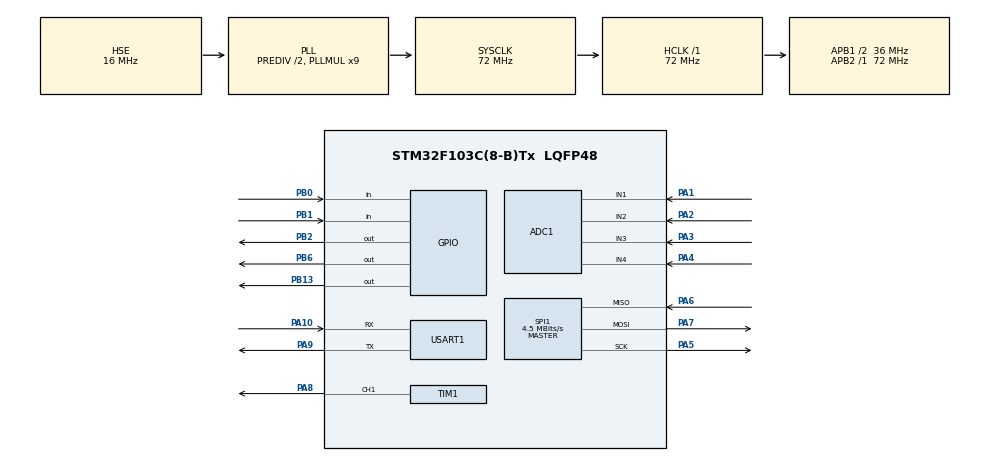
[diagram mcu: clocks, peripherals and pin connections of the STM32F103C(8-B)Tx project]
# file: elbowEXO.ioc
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ADC1.Channel-0\#ChannelRegularConversion=ADC_CHANNEL_2
ADC1.NbrOfConversionFlag=1
ADC1.Rank-0\#ChannelRegularConversion=1
ADC1.SamplingTime-0\#ChannelRegularConversion=ADC_SAMPLETIME_1CYCLE_5
ADC1.master=1
Mcu.Family=STM32F1
Mcu.Name=STM32F103C(8-B)Tx
Mcu.Package=LQFP48
NVIC.PriorityGroup=NVIC_PRIORITYGROUP_4
NVIC.TIM2_IRQn=true\:0\:0\:false\:false\:true\:true\:true\:true
PA1.Signal=ADCx_IN1
PA10.Mode=Asynchronous
PA10.Signal=USART1_RX
PA13.Mode=Serial_Wire
PA13.Signal=SYS_JTMS-SWDIO
PA14.Mode=Serial_Wire
PA14.Signal=SYS_JTCK-SWCLK
PA2.Signal=ADCx_IN2
PA3.Signal=ADCx_IN3
PA4.Signal=ADCx_IN4
PA5.Mode=Full_Duplex_Master
PA5.Signal=SPI1_SCK
PA6.Mode=Full_Duplex_Master
PA6.Signal=SPI1_MISO
PA7.Mode=Full_Duplex_Master
PA7.Signal=SPI1_MOSI
PA8.Signal=S_TIM1_CH1
PA9.Mode=Asynchronous
PA9.Signal=USART1_TX
PB0.GPIO_PuPd=GPIO_PULLUP
PB0.Signal=GPIO_Input
PB1.GPIO_PuPd=GPIO_PULLUP
PB1.Signal=GPIO_Input
PB13.Signal=GPIO_Output
PB2.Signal=GPIO_Output
PB6.Signal=GPIO_Output
PD0-OSC_IN.Mode=HSE-External-Oscillator
PD0-OSC_IN.Signal=RCC_OSC_IN
PD1-OSC_OUT.Mode=HSE-External-Oscillator
PD1-OSC_OUT.Signal=RCC_OSC_OUT
ProjectManager.HeapSize=0x200
ProjectManager.StackSize=0x400
ProjectManager.TargetToolchain=MDK-ARM V5.32
RCC.ADCPresc=RCC_ADCPCLK2_DIV6
RCC.AHBFreq_Value=72000000
RCC.APB1CLKDivider=RCC_HCLK_DIV2
RCC.APB1Freq_Value=36000000
RCC.APB1TimFreq_Value=72000000
RCC.APB2Freq_Value=72000000
RCC.APB2TimFreq_Value=72000000
RCC.HCLKFreq_Value=72000000
RCC.HSEDivPLL=RCC_HSE_PREDIV_DIV2
RCC.HSE_VALUE=16000000
RCC.PLLMUL=RCC_PLL_MUL9
RCC.PLLSourceVirtual=RCC_PLLSOURCE_HSE
RCC.SYSCLKFreq_VALUE=72000000
RCC.SYSCLKSource=RCC_SYSCLKSOURCE_PLLCLK
RCC.USBFreq_Value=72000000
SH.ADCx_IN1.0=ADC1_IN1,IN1
SH.ADCx_IN2.0=ADC1_IN2,IN2
SH.ADCx_IN3.0=ADC1_IN3,IN3
SH.ADCx_IN4.0=ADC1_IN4,IN4
SH.S_TIM1_CH1.0=TIM1_CH1,PWM Generation1 CH1
SPI1.BaudRatePrescaler=SPI_BAUDRATEPRESCALER_16
SPI1.CLKPhase=SPI_PHASE_2EDGE
SPI1.CalculateBaudRate=4.5 MBits/s
SPI1.DataSize=SPI_DATASIZE_16BIT
SPI1.Direction=SPI_DIRECTION_2LINES
SPI1.Mode=SPI_MODE_MASTER
SPI1.VirtualType=VM_MASTER
TIM1.AutoReloadPreload=TIM_AUTORELOAD_PRELOAD_ENABLE
TIM1.Channel-PWM\ Generation1\ CH1=TIM_CHANNEL_1
TIM1.Period=999
TIM1.Prescaler=71
TIM2.Period=99
TIM2.Prescaler=7199
USART1.VirtualMode=VM_ASYNC
VP_TIM1_VS_ClockSourceINT.Mode=Internal
VP_TIM2_VS_ClockSourceINT.Mode=Internal
board=custom

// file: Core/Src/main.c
/* USER CODE BEGIN Header */
/**
  ******************************************************************************
  * @file           : main.c
  * @brief          : Main program body
  ******************************************************************************
  * @attention
  *
  * Copyright (c) 2025 STMicroelectronics.
  * All rights reserved.
  *
  * This software is licensed under terms that can be found in the LICENSE file
  * in the root directory of this software component.
  * If no LICENSE file comes with this software, it is provided AS-IS.
  *
  ******************************************************************************
  */
/* USER CODE END Header */
#include "main.h"
#include "adc.h"
#include "spi.h"
#include "tim.h"
#include "usart.h"
#include "gpio.h"

/* USER CODE BEGIN Includes */
// ����ͷ�ļ�
#include "encoder.h"
#include "driver.h"
#include "pid.h"
#include "speed_mapper.h"
#include <stdio.h>
#include <math.h>
/* USER CODE END Includes */

/* USER CODE BEGIN PV */
// 全局变量
PID_Controller position_pid;    // 位置环PID
PID_Controller speed_pid;       // 速度环PID
float target_angle = 90.0f;     // 目标角度
float target_speed = 0.0f;      // 目标速度

/////////////////////////////轨迹参数调整处//////////////////////////////////////////////
// 正弦轨迹参数//参数设置注意：1.正弦幅度<正弦偏移;2.正弦偏移-正弦幅度的值差别不能太大，不然会从初始0角度突然剧烈跳变
float trajectory_t = 0.0f;      // 轨迹时间变量
#define TRAJECTORY_AMPLITUDE 44.0f    // 正弦幅度 44度
#define TRAJECTORY_OFFSET 45.0f       // 正弦偏移 45度
#define TRAJECTORY_FREQUENCY 0.1f     // 正弦频率 (Hz)
//////最终表达式  期望角度曲线=-44cos(0.1t + 0)+45
///////////////////////////////////////////////////////////////////////////////////////////
	float Avr[10] = {0.0f};
	float sum = 0.0f;
	float a = 0.0f;

// 控制参数
#define MAX_MOTOR_SPEED     300.0f  // 最大电机速度
#define CONTROL_FREQ        100     // 100Hz控制频率
uint32_t control_counter = 0;
/* USER CODE END PV */

void SystemClock_Config(void);
/* USER CODE BEGIN PFP */
// 双环控制函数声明
void PositionSpeedDualLoopControl(void);
void UpdateTrajectory(void);  //更新轨迹
/* USER CODE END PFP */

/* USER CODE BEGIN 0 */
// 重定向printf到串口
int fputc(int ch, FILE *f)
{
  HAL_UART_Transmit(&huart1, (uint8_t *)&ch, 1, 0xffff);
  return ch;
}

// 简单的电机测试函数
void Motor_SimpleTest(void)
{

	    // 1. 更新速度测量
    Encoder_UpdateVelocity();

    // 2. 读取当前位置和当前速度
    float angle0 = Encoder_ReadAngle();
	printf("Current_Angle: %f\r\n",angle0);

    // 测试1: 正转慢速
    Motor_SetDirection(MOTOR_DIR_CW);
    Motor_SetSpeed(300);  // 30%速度   满值1000
    HAL_Delay(2500);      // 运行2.5秒

    // 测试2: 停止
    Motor_Stop();

	  float angle1 = Encoder_ReadAngle();
	printf("Current_Angle: %f\r\n",angle1);

    // 测试3: 反转慢速
    Motor_SetDirection(MOTOR_DIR_CCW);
    Motor_SetSpeed(300);  // 30%速度
    HAL_Delay(2500);      // 运行2.6秒

    // 测试4: 停止
    Motor_Stop();

	 float angle2 = Encoder_ReadAngle();
   printf("Current_Angle: %f\r\n",angle2);
}

/* USER CODE END 0 */

//主函数
int main(void)
{

  /* MCU Configuration--------------------------------------------------------*/

  /* Reset of all peripherals, Initializes the Flash interface and the Systick. */
  HAL_Init();   //HAL库初始化

  /* Configure the system clock */
  SystemClock_Config();   //系统时钟配置

  /* Initialize all configured peripherals */
  MX_GPIO_Init();       //输入输出引脚初始化
  MX_SPI1_Init();       //SPI初始化
  MX_TIM2_Init();       //定时器2初始化
  MX_USART1_UART_Init();  //串口通信初始化---调试用
  MX_TIM1_Init();
  MX_ADC1_Init();
  /* USER CODE BEGIN 2 */
	//编码器读取及电机初始化
  Encoder_Init(&hspi1);     //编码器初始化---配置编码器的spi通信
  Motor_Init(&htim1);       //电机初始化

/////////////////////参数调试处////////主要调节两个环的Kp\Ki\Kd三个值///////////
//位置环PID控制器初始化    Kp    Ki     Kd
  PID_Init(&position_pid, 8.0f, 0.1f, 0.3f, 100.0f, MAX_MOTOR_SPEED);
//速度环PID控制器初始化  Kp   Ki    Kd
  PID_Init(&speed_pid, 0.5f, 0.1f, 0.06f, 50.0f, 1000.0f);
////////////////////////////////////////////////////////////////////////////////

//当前最优参数，作备用
//  PID_Init(&position_pid, 8.0f, 0.1f, 0.3f, 100.0f, MAX_MOTOR_SPEED);
////速度环PID控制器初始化  Kp   Ki    Kd
//  PID_Init(&speed_pid, 0.5f, 0.1f, 0.06f, 50.0f, 1000.0f);

	// 读取上电后的首次角度

  float A0 = Encoder_ReadAngle();
	printf("Initial_Angle: %f\r\n",A0);

  HAL_Delay(5000);

  //初始角度校准
	for(int i = 0;i < 10; i++){
		Avr[i] = Encoder_ReadAngle();
		sum += Avr[i];
	}
  a = sum/10;

	printf("%f,%f\r\n", sum,a);

	HAL_Delay(100);

  //启动定时器
  HAL_TIM_Base_Start_IT(&htim2);  // 控制循环 100Hz

	// 执行简单的电机测试
  // Motor_SimpleTest();

  /* USER CODE END 2 */

  /* Infinite loop */
  while (1)
  {

  }
}

void SystemClock_Config(void)
{
  RCC_OscInitTypeDef RCC_OscInitStruct = {0};
  RCC_ClkInitTypeDef RCC_ClkInitStruct = {0};
  RCC_PeriphCLKInitTypeDef PeriphClkInit = {0};

  /** Initializes the RCC Oscillators according to the specified parameters
  * in the RCC_OscInitTypeDef structure.
  */
  RCC_OscInitStruct.OscillatorType = RCC_OSCILLATORTYPE_HSE;
  RCC_OscInitStruct.HSEState = RCC_HSE_ON;
  RCC_OscInitStruct.HSEPredivValue = RCC_HSE_PREDIV_DIV2;
  RCC_OscInitStruct.HSIState = RCC_HSI_ON;
  RCC_OscInitStruct.PLL.PLLState = RCC_PLL_ON;
  RCC_OscInitStruct.PLL.PLLSource = RCC_PLLSOURCE_HSE;
  RCC_OscInitStruct.PLL.PLLMUL = RCC_PLL_MUL9;
  if (HAL_RCC_OscConfig(&RCC_OscInitStruct) != HAL_OK)
  {
    Error_Handler();
  }

  /** Initializes the CPU, AHB and APB buses clocks
  */
  RCC_ClkInitStruct.ClockType = RCC_CLOCKTYPE_HCLK|RCC_CLOCKTYPE_SYSCLK
                              |RCC_CLOCKTYPE_PCLK1|RCC_CLOCKTYPE_PCLK2;
  RCC_ClkInitStruct.SYSCLKSource = RCC_SYSCLKSOURCE_PLLCLK;
  RCC_ClkInitStruct.AHBCLKDivider = RCC_SYSCLK_DIV1;
  RCC_ClkInitStruct.APB1CLKDivider = RCC_HCLK_DIV2;
  RCC_ClkInitStruct.APB2CLKDivider = RCC_HCLK_DIV1;

  if (HAL_RCC_ClockConfig(&RCC_ClkInitStruct, FLASH_LATENCY_2) != HAL_OK)
  {
    Error_Handler();
  }
  PeriphClkInit.PeriphClockSelection = RCC_PERIPHCLK_ADC;
  PeriphClkInit.AdcClockSelection = RCC_ADCPCLK2_DIV6;
  if (HAL_RCCEx_PeriphCLKConfig(&PeriphClkInit) != HAL_OK)
  {
    Error_Handler();
  }
}

/* USER CODE BEGIN 4 */
//正弦轨迹驱动更新
void UpdateTrajectory(void)
{
    // 更新轨迹时间 (100Hz控制频率，每次增加0.01秒)
    trajectory_t += 0.01f;

    // 计算正弦轨迹：-88 * cos(0.1*t) + 90
    // 使用sinf函数计算正弦值
    target_angle = - (TRAJECTORY_AMPLITUDE) * cosf(trajectory_t * 2 * 3.14159f * TRAJECTORY_FREQUENCY) + TRAJECTORY_OFFSET + a;

    // 确保角度在0-360度范围内
    if (target_angle >= 360.0f) {
        target_angle -= 360.0f;
    }
    if (target_angle < 0.0f) {
        target_angle += 360.0f;
    }
}

//////////////////////////////////////////////////////////////////////////////////////////////
void PositionSpeedDualLoopControl(void)
{
    // 1. 更新速度测量
    Encoder_UpdateVelocity();

    // 2. 读取当前位置和当前速度
    float current_angle = Encoder_ReadAngle();
    float current_speed = Encoder_ReadVelocity();

    // 3. 位置环：计算位置误差并得到目标速度
    float position_error = target_angle - current_angle;
    if (position_error > 180.0f) position_error -= 360.0f;
    if (position_error < -180.0f) position_error += 360.0f;

    // 位置环PID计算，输出为目标速度
    target_speed = PID_Update(&position_pid, 0.0f, position_error);
	  ////////////////////////参数输出添加或删除处/////////////////////////////////////////////////
	  printf("%f,%f,%f,%f,%f\r\n",current_angle,target_angle,current_angle-target_angle,current_speed,target_speed);

    // 限制目标速度范围
    if (target_speed > MAX_MOTOR_SPEED) target_speed = MAX_MOTOR_SPEED;
    if (target_speed < -MAX_MOTOR_SPEED) target_speed = -MAX_MOTOR_SPEED;

    // 4. 速度环：根据目标速度和实际速度计算PWM
    float speed_error = target_speed - current_speed;
    float pwm_output = PID_Update(&speed_pid, target_speed, current_speed);

    // 5. 将PID输出转换为PWM占空比
    uint16_t pwm_duty = (uint16_t)fabsf(pwm_output);
    if (pwm_duty > 1000) pwm_duty = 1000;

    // 6. 设置电机方向和速度
    if (target_speed >= 0) {
        Motor_SetDirection(MOTOR_DIR_CW);    //
    } else {
        Motor_SetDirection(MOTOR_DIR_CCW);   //
    }
    Motor_SetSpeed(pwm_duty);

}
/////////////////////////////////////////////////////////////////////////////////////////////
// TIM2中断 - 控制循环（100Hz）
void HAL_TIM_PeriodElapsedCallback(TIM_HandleTypeDef *htim)
{
    if (htim->Instance == TIM2) {
        control_counter++;  // 统计控制循环次数

			  // 更新正弦轨迹目标角度
        UpdateTrajectory();

        // 执行位置-速度双环控制
        PositionSpeedDualLoopControl();

        // 安全检测
        if (Motor_CheckFault()) {
            // 发生故障，立即停止电机
            Motor_Stop();
        }
    }
}
/* USER CODE END 4 */

void Error_Handler(void)
{
  /* USER CODE BEGIN Error_Handler_Debug */
  /* User can add his own implementation to report the HAL error return state */
  // 紧急停止电机
  Motor_Stop();
  Motor_Sleep();

	__disable_irq();
  while (1)
  {
  }
  /* USER CODE END Error_Handler_Debug */
}
